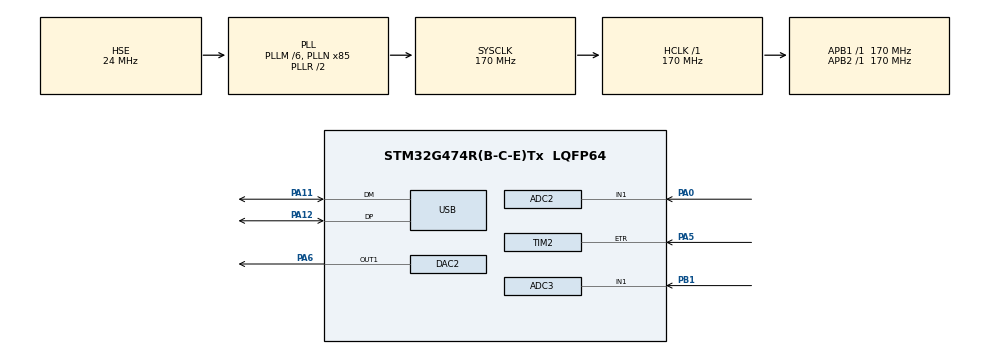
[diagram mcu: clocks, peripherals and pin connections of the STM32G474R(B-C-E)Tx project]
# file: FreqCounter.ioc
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ADC2.Channel-1\#ChannelRegularConversion=ADC_CHANNEL_1
ADC2.ContinuousConvMode=ENABLE
ADC2.DMAContinuousRequests=ENABLE
ADC2.EOCSelection=ADC_EOC_SEQ_CONV
ADC2.NbrOfConversion=1
ADC2.NbrOfConversionFlag=1
ADC2.OffsetNumber-1\#ChannelRegularConversion=ADC_OFFSET_NONE
ADC2.Rank-1\#ChannelRegularConversion=1
ADC2.SamplingTime-1\#ChannelRegularConversion=ADC_SAMPLETIME_2CYCLES_5
ADC3.Channel-2\#ChannelRegularConversion=ADC_CHANNEL_1
ADC3.ContinuousConvMode=ENABLE
ADC3.DMAContinuousRequests=ENABLE
ADC3.EOCSelection=ADC_EOC_SEQ_CONV
ADC3.NbrOfConversionFlag=1
ADC3.OffsetNumber-2\#ChannelRegularConversion=ADC_OFFSET_NONE
ADC3.Rank-2\#ChannelRegularConversion=1
ADC3.SamplingTime-2\#ChannelRegularConversion=ADC_SAMPLETIME_2CYCLES_5
ADC3.master=1
Dma.ADC2.0.Direction=DMA_PERIPH_TO_MEMORY
Dma.ADC2.0.EventEnable=DISABLE
Dma.ADC2.0.Instance=DMA1_Channel1
Dma.ADC2.0.MemDataAlignment=DMA_MDATAALIGN_WORD
Dma.ADC2.0.MemInc=DMA_MINC_ENABLE
Dma.ADC2.0.Mode=DMA_CIRCULAR
Dma.ADC2.0.PeriphDataAlignment=DMA_PDATAALIGN_WORD
Dma.ADC2.0.PeriphInc=DMA_PINC_DISABLE
Dma.ADC2.0.Polarity=HAL_DMAMUX_REQ_GEN_RISING
Dma.ADC2.0.Priority=DMA_PRIORITY_LOW
Dma.ADC2.0.RequestNumber=1
Dma.ADC2.0.SignalID=NONE
Dma.ADC2.0.SyncEnable=DISABLE
Dma.ADC2.0.SyncPolarity=HAL_DMAMUX_SYNC_NO_EVENT
Dma.ADC2.0.SyncRequestNumber=1
Dma.ADC2.0.SyncSignalID=NONE
Dma.ADC3.1.Direction=DMA_PERIPH_TO_MEMORY
Dma.ADC3.1.EventEnable=DISABLE
Dma.ADC3.1.Instance=DMA1_Channel2
Dma.ADC3.1.MemDataAlignment=DMA_MDATAALIGN_HALFWORD
Dma.ADC3.1.MemInc=DMA_MINC_ENABLE
Dma.ADC3.1.Mode=DMA_CIRCULAR
Dma.ADC3.1.PeriphDataAlignment=DMA_PDATAALIGN_HALFWORD
Dma.ADC3.1.PeriphInc=DMA_PINC_DISABLE
Dma.ADC3.1.Polarity=HAL_DMAMUX_REQ_GEN_RISING
Dma.ADC3.1.Priority=DMA_PRIORITY_LOW
Dma.ADC3.1.RequestNumber=1
Dma.ADC3.1.SignalID=NONE
Dma.ADC3.1.SyncEnable=DISABLE
Dma.ADC3.1.SyncPolarity=HAL_DMAMUX_SYNC_NO_EVENT
Dma.ADC3.1.SyncRequestNumber=1
Dma.ADC3.1.SyncSignalID=NONE
Dma.Request0=ADC2
Dma.Request1=ADC3
Mcu.Family=STM32G4
Mcu.Name=STM32G474R(B-C-E)Tx
Mcu.Package=LQFP64
NVIC.DMA1_Channel1_IRQn=true\:0\:0\:false\:false\:true\:false\:true\:true
NVIC.DMA1_Channel2_IRQn=true\:0\:0\:false\:false\:true\:false\:true\:true
NVIC.PriorityGroup=NVIC_PRIORITYGROUP_4
NVIC.TIM5_IRQn=true\:0\:0\:false\:false\:true\:true\:true\:true
NVIC.USB_LP_IRQn=true\:0\:0\:false\:false\:true\:false\:true\:true
PA0.Mode=IN1-Single-Ended
PA0.Signal=ADC2_IN1
PA11.Mode=Device
PA11.Signal=USB_DM
PA12.Mode=Device
PA12.Signal=USB_DP
PA5.Signal=S_TIM2_ETR
PA6.Signal=COMP_DAC21_group
PB1.Mode=IN1-Single-Ended
PB1.Signal=ADC3_IN1
PF0-OSC_IN.Mode=HSE-External-Oscillator
PF0-OSC_IN.Signal=RCC_OSC_IN
PF1-OSC_OUT.Mode=HSE-External-Oscillator
PF1-OSC_OUT.Signal=RCC_OSC_OUT
ProjectManager.HeapSize=0x200
ProjectManager.StackSize=0x400
ProjectManager.TargetToolchain=STM32CubeIDE
RCC.ADC12Freq_Value=170000000
RCC.ADC345Freq_Value=170000000
RCC.AHBFreq_Value=170000000
RCC.APB1Freq_Value=170000000
RCC.APB1TimFreq_Value=170000000
RCC.APB2Freq_Value=170000000
RCC.APB2TimFreq_Value=170000000
RCC.CK48CLockSelection=RCC_USBCLKSOURCE_HSI48
RCC.CortexFreq_Value=170000000
RCC.EXTERNAL_CLOCK_VALUE=12288000
RCC.HCLKFreq_Value=170000000
RCC.HSE_VALUE=24000000
RCC.HSI48_VALUE=48000000
RCC.HSI_VALUE=16000000
RCC.LSE_VALUE=32768
RCC.PLLM=RCC_PLLM_DIV6
RCC.PLLN=85
RCC.PLLSourceVirtual=RCC_PLLSOURCE_HSE
RCC.SYSCLKFreq_VALUE=170000000
RCC.SYSCLKSource=RCC_SYSCLKSOURCE_PLLCLK
RCC.USBFreq_Value=48000000
RCC.VCOOutputFreq_Value=340000000
SH.COMP_DAC21_group.0=DAC2_OUT1,DAC_OUT1
SH.S_TIM2_ETR.0=TIM2_ETR,ClockSourceETR_Mode2
TIM5.PeriodNoDither=170000000
USB_DEVICE.CLASS_NAME_FS=CDC
USB_DEVICE.VirtualMode=Cdc
USB_DEVICE.VirtualModeFS=Cdc_FS
VP_TIM5_VS_ClockSourceINT.Mode=Internal
VP_USB_DEVICE_VS_USB_DEVICE_CDC_FS.Mode=CDC_FS
board=custom

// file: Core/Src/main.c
/* USER CODE BEGIN Header */
/**
  ******************************************************************************
  * @file           : main.c
  * @brief          : Main program body
  ******************************************************************************
  * @attention
  *
  * Copyright (c) 2023 STMicroelectronics.
  * All rights reserved.
  *
  * This software is licensed under terms that can be found in the LICENSE file
  * in the root directory of this software component.
  * If no LICENSE file comes with this software, it is provided AS-IS.
  *
  ******************************************************************************
  */
/* USER CODE END Header */
#include "main.h"
#include "usb_device.h"

/* USER CODE BEGIN Includes */
#include "usbd_cdc_if.h"

#include "stm32g4xx_hal.h"
#include <string.h>
#include <stdio.h>
/* USER CODE END Includes */

/* USER CODE BEGIN PD */

#define ADC_BUFF 5000
//#define AVG_ARRAY_SIZE 100

/* USER CODE END PD */

ADC_HandleTypeDef hadc2;
ADC_HandleTypeDef hadc3;
DMA_HandleTypeDef hdma_adc2;
DMA_HandleTypeDef hdma_adc3;

DAC_HandleTypeDef hdac2;

TIM_HandleTypeDef htim2;
TIM_HandleTypeDef htim5;

/* USER CODE BEGIN PV */
volatile uint32_t squareWaveFrequency = 0;
__IO uint32_t ADCVal[ADC_BUFF];
__IO uint16_t ADC3Val[ADC_BUFF];
//float allAvg[AVG_ARRAY_SIZE];
float ADCAvg;
float ADC3Avg;

float ADCtot;
float ADC3tot;
int numVal, numVal3;

float voltageValue;
__IO uint8_t ADCDone;
__IO uint8_t ADC3Done;
__IO uint8_t TIM5Done;
int16_t DAC_Value;
//uint32_t avg_index;
uint8_t init_values[8]= {0};
uint32_t error;

/* USER CODE END PV */

void SystemClock_Config(void);
static void MX_GPIO_Init(void);
static void MX_DMA_Init(void);
static void MX_TIM2_Init(void);
static void MX_TIM5_Init(void);
static void MX_ADC2_Init(void);
static void MX_DAC2_Init(void);
static void MX_ADC3_Init(void);
/* USER CODE BEGIN PFP */
void HAL_TIM_PeriodElapsedCallback(TIM_HandleTypeDef *htim);
static float ADC_avg(uint32_t *values);
static float ADC3_avg(uint16_t *values);
//static float Avg_avg(uint32_t *values);
//void HAL_TIM_IC_CaptureCallback(TIM_HandleTypeDef *htim);
/* USER CODE END PFP */

int main(void)
{

  /* MCU Configuration--------------------------------------------------------*/

  /* Reset of all peripherals, Initializes the Flash interface and the Systick. */
  HAL_Init();

  /* Configure the system clock */
  SystemClock_Config();

  /* Initialize all configured peripherals */
  MX_GPIO_Init();
  MX_DMA_Init();
  MX_TIM2_Init();
  MX_TIM5_Init();
  MX_ADC2_Init();
  MX_USB_Device_Init();
  MX_DAC2_Init();
  MX_ADC3_Init();
  /* USER CODE BEGIN 2 */

  HAL_TIM_Base_Start_IT(&htim5);
  HAL_TIM_Base_Start(&htim2);
  ADCDone = 0;
  ADC3Done = 0;
  TIM5Done = 0;
  ADCAvg = 0;
  ADC3Avg = 0;

  ADCtot = 0;
  ADC3tot = 0;
  numVal = 0;
  numVal3 = 0;

  voltageValue = 0;
  error=0;

  HAL_DAC_Start(&hdac2, DAC_CHANNEL_1);
  HAL_ADC_Start_DMA(&hadc2, (uint32_t*)ADCVal, ADC_BUFF);
  HAL_ADC_Start_DMA(&hadc3, (uint16_t*)ADC3Val, ADC_BUFF);
  /* USER CODE END 2 */

  /* Infinite loop */
  while (1)
  {

    /* USER CODE BEGIN 3 */

	  // Callibrate and Send
	if (receivedValue==4100){
		DAC_Value = (2/3.3)*4095;
		HAL_DAC_SetValue(&hdac2, DAC_CHANNEL_1, DAC_ALIGN_12B_R, (uint32_t)DAC_Value);
		do{
			receivedValue = 0;
			  // process ADC data
			if (ADCDone){
				ADCDone = 0;
				ADCAvg = ADC_avg(ADCVal);
				DAC_Value += (2048-ADCAvg)/10;
				//DAC_Value += (2048-DAC_Value)/10;
				HAL_DAC_SetValue(&hdac2, DAC_CHANNEL_1, DAC_ALIGN_12B_R, (uint32_t)DAC_Value);
				HAL_ADC_Start_DMA(&hadc2, (uint32_t*)ADCVal, ADC_BUFF);
			}
		} while(ADCAvg<2040 || ADCAvg>2056);

		for (uint i = 0; i<2; i++){
			init_values[i] = (uint8_t)((DAC_Value >> (8*i)) & 0xFF);
		}
		uint8_t *bytes = (uint8_t *)&ADCAvg;
		for (uint i = 0; i < 4; i++) {
				init_values[i+4] = bytes[i];
		}
		if (ADCAvg>2040 && ADCAvg<2056){
			CDC_Transmit_FS(init_values, 8);
			for (uint i = 0; i<8;i++ ){
				init_values[i] = 0;
			}
		}
	}

	// Check and Send
	if (receivedValue>4100){
		DAC_Value = receivedValue - 4200;
		HAL_DAC_SetValue(&hdac2, DAC_CHANNEL_1, DAC_ALIGN_12B_R, (uint32_t)DAC_Value);
		if(ADCDone) {
		  ADCDone = 0;
		  receivedValue = 0;
		  // process ADC data
		  HAL_ADC_Start_DMA(&hadc2, (uint32_t*)ADCVal, ADC_BUFF);
	  }
		uint8_t *bytes2 = (uint8_t *)&DAC_Value;
		for (uint i = 0; i<2; i++){
			init_values[i] = bytes2[i];
		}
		uint8_t *bytes = (uint8_t *)&ADCAvg;
		for (uint i = 0; i < 4; i++) {
			init_values[i+4] = bytes[i];
		}
		CDC_Transmit_FS(init_values, 8);
	}

    //Set value
	if (receivedValue < 4096 && receivedValue>0){
		  DAC_Value = (int16_t) receivedValue;
		  HAL_DAC_SetValue(&hdac2, DAC_CHANNEL_1, DAC_ALIGN_12B_R, (uint32_t)DAC_Value);
		  receivedValue = 0;
	  }

	if (ADCDone){
		ADCDone = 0;
		ADCAvg = ADC_avg(ADCVal);
		ADCtot += ADCAvg;
		numVal++;
	}
	if (ADC3Done){
		ADC3Done = 0;
		ADC3Avg = ADC3_avg(ADC3Val);
		ADC3tot += ADC3Avg;
		numVal3++;
	}

	  if (TIM5Done){
		HAL_ADC_Stop_DMA(&hadc2);
		HAL_ADC_Stop_DMA(&hadc3);

		TIM5Done = 0;
		uint8_t data[12];
		for (uint i = 0; i<4; i++){
			data[i] = (uint8_t)((squareWaveFrequency >> (8*i)) & 0xFF);
		}
		if ((numVal!=0) && (numVal3!=0)){
			ADCAvg = ADCtot/numVal;
			ADC3Avg = ADC3tot/numVal3;

			ADCtot = 0;
			ADC3tot = 0;
			numVal = 0;
			numVal3 = 0;
		}
		uint8_t *bytes = (uint8_t *)&ADCAvg;
		for (uint i = 0; i < 4; i++) {
				data[i+4] = bytes[i];
		}
		uint8_t *bytes3 = (uint8_t *)&ADC3Avg;
		for (uint i = 0; i < 4; i++) {
				data[i+8] = bytes3[i];
		}
		CDC_Transmit_FS(data, 12);
		HAL_ADC_Start_DMA(&hadc2, (uint32_t*)ADCVal, ADC_BUFF);
		HAL_ADC_Start_DMA(&hadc3, (uint16_t*)ADC3Val, ADC_BUFF);
	  }

  }
  /* USER CODE END 3 */
}

void SystemClock_Config(void)
{
  RCC_OscInitTypeDef RCC_OscInitStruct = {0};
  RCC_ClkInitTypeDef RCC_ClkInitStruct = {0};

  /** Configure the main internal regulator output voltage
  */
  HAL_PWREx_ControlVoltageScaling(PWR_REGULATOR_VOLTAGE_SCALE1_BOOST);

  /** Initializes the RCC Oscillators according to the specified parameters
  * in the RCC_OscInitTypeDef structure.
  */
  RCC_OscInitStruct.OscillatorType = RCC_OSCILLATORTYPE_HSI48|RCC_OSCILLATORTYPE_HSE;
  RCC_OscInitStruct.HSEState = RCC_HSE_ON;
  RCC_OscInitStruct.HSI48State = RCC_HSI48_ON;
  RCC_OscInitStruct.PLL.PLLState = RCC_PLL_ON;
  RCC_OscInitStruct.PLL.PLLSource = RCC_PLLSOURCE_HSE;
  RCC_OscInitStruct.PLL.PLLM = RCC_PLLM_DIV6;
  RCC_OscInitStruct.PLL.PLLN = 85;
  RCC_OscInitStruct.PLL.PLLP = RCC_PLLP_DIV2;
  RCC_OscInitStruct.PLL.PLLQ = RCC_PLLQ_DIV2;
  RCC_OscInitStruct.PLL.PLLR = RCC_PLLR_DIV2;
  if (HAL_RCC_OscConfig(&RCC_OscInitStruct) != HAL_OK)
  {
    Error_Handler();
  }

  /** Initializes the CPU, AHB and APB buses clocks
  */
  RCC_ClkInitStruct.ClockType = RCC_CLOCKTYPE_HCLK|RCC_CLOCKTYPE_SYSCLK
                              |RCC_CLOCKTYPE_PCLK1|RCC_CLOCKTYPE_PCLK2;
  RCC_ClkInitStruct.SYSCLKSource = RCC_SYSCLKSOURCE_PLLCLK;
  RCC_ClkInitStruct.AHBCLKDivider = RCC_SYSCLK_DIV1;
  RCC_ClkInitStruct.APB1CLKDivider = RCC_HCLK_DIV1;
  RCC_ClkInitStruct.APB2CLKDivider = RCC_HCLK_DIV1;

  if (HAL_RCC_ClockConfig(&RCC_ClkInitStruct, FLASH_LATENCY_4) != HAL_OK)
  {
    Error_Handler();
  }
}

static void MX_ADC2_Init(void)
{

  ADC_ChannelConfTypeDef sConfig = {0};

  /** Common config
  */
  hadc2.Instance = ADC2;
  hadc2.Init.ClockPrescaler = ADC_CLOCK_SYNC_PCLK_DIV4;
  hadc2.Init.Resolution = ADC_RESOLUTION_12B;
  hadc2.Init.DataAlign = ADC_DATAALIGN_RIGHT;
  hadc2.Init.GainCompensation = 0;
  hadc2.Init.ScanConvMode = ADC_SCAN_DISABLE;
  hadc2.Init.EOCSelection = ADC_EOC_SEQ_CONV;
  hadc2.Init.LowPowerAutoWait = DISABLE;
  hadc2.Init.ContinuousConvMode = ENABLE;
  hadc2.Init.NbrOfConversion = 1;
  hadc2.Init.DiscontinuousConvMode = DISABLE;
  hadc2.Init.ExternalTrigConv = ADC_SOFTWARE_START;
  hadc2.Init.ExternalTrigConvEdge = ADC_EXTERNALTRIGCONVEDGE_NONE;
  hadc2.Init.DMAContinuousRequests = ENABLE;
  hadc2.Init.Overrun = ADC_OVR_DATA_PRESERVED;
  hadc2.Init.OversamplingMode = DISABLE;
  if (HAL_ADC_Init(&hadc2) != HAL_OK)
  {
    Error_Handler();
  }

  /** Configure Regular Channel
  */
  sConfig.Channel = ADC_CHANNEL_1;
  sConfig.Rank = ADC_REGULAR_RANK_1;
  sConfig.SamplingTime = ADC_SAMPLETIME_2CYCLES_5;
  sConfig.SingleDiff = ADC_SINGLE_ENDED;
  sConfig.OffsetNumber = ADC_OFFSET_NONE;
  sConfig.Offset = 0;
  if (HAL_ADC_ConfigChannel(&hadc2, &sConfig) != HAL_OK)
  {
    Error_Handler();
  }

}

static void MX_ADC3_Init(void)
{

  ADC_MultiModeTypeDef multimode = {0};
  ADC_ChannelConfTypeDef sConfig = {0};

  /** Common config
  */
  hadc3.Instance = ADC3;
  hadc3.Init.ClockPrescaler = ADC_CLOCK_SYNC_PCLK_DIV4;
  hadc3.Init.Resolution = ADC_RESOLUTION_12B;
  hadc3.Init.DataAlign = ADC_DATAALIGN_RIGHT;
  hadc3.Init.GainCompensation = 0;
  hadc3.Init.ScanConvMode = ADC_SCAN_DISABLE;
  hadc3.Init.EOCSelection = ADC_EOC_SEQ_CONV;
  hadc3.Init.LowPowerAutoWait = DISABLE;
  hadc3.Init.ContinuousConvMode = ENABLE;
  hadc3.Init.NbrOfConversion = 1;
  hadc3.Init.DiscontinuousConvMode = DISABLE;
  hadc3.Init.ExternalTrigConv = ADC_SOFTWARE_START;
  hadc3.Init.ExternalTrigConvEdge = ADC_EXTERNALTRIGCONVEDGE_NONE;
  hadc3.Init.DMAContinuousRequests = ENABLE;
  hadc3.Init.Overrun = ADC_OVR_DATA_PRESERVED;
  hadc3.Init.OversamplingMode = DISABLE;
  if (HAL_ADC_Init(&hadc3) != HAL_OK)
  {
    Error_Handler();
  }

  /** Configure the ADC multi-mode
  */
  multimode.Mode = ADC_MODE_INDEPENDENT;
  if (HAL_ADCEx_MultiModeConfigChannel(&hadc3, &multimode) != HAL_OK)
  {
    Error_Handler();
  }

  /** Configure Regular Channel
  */
  sConfig.Channel = ADC_CHANNEL_1;
  sConfig.Rank = ADC_REGULAR_RANK_1;
  sConfig.SamplingTime = ADC_SAMPLETIME_2CYCLES_5;
  sConfig.SingleDiff = ADC_SINGLE_ENDED;
  sConfig.OffsetNumber = ADC_OFFSET_NONE;
  sConfig.Offset = 0;
  if (HAL_ADC_ConfigChannel(&hadc3, &sConfig) != HAL_OK)
  {
    Error_Handler();
  }

}

static void MX_DAC2_Init(void)
{

  DAC_ChannelConfTypeDef sConfig = {0};

  /** DAC Initialization
  */
  hdac2.Instance = DAC2;
  if (HAL_DAC_Init(&hdac2) != HAL_OK)
  {
    Error_Handler();
  }

  /** DAC channel OUT1 config
  */
  sConfig.DAC_HighFrequency = DAC_HIGH_FREQUENCY_INTERFACE_MODE_AUTOMATIC;
  sConfig.DAC_DMADoubleDataMode = DISABLE;
  sConfig.DAC_SignedFormat = DISABLE;
  sConfig.DAC_SampleAndHold = DAC_SAMPLEANDHOLD_DISABLE;
  sConfig.DAC_Trigger = DAC_TRIGGER_NONE;
  sConfig.DAC_Trigger2 = DAC_TRIGGER_NONE;
  sConfig.DAC_OutputBuffer = DAC_OUTPUTBUFFER_ENABLE;
  sConfig.DAC_ConnectOnChipPeripheral = DAC_CHIPCONNECT_EXTERNAL;
  sConfig.DAC_UserTrimming = DAC_TRIMMING_FACTORY;
  if (HAL_DAC_ConfigChannel(&hdac2, &sConfig, DAC_CHANNEL_1) != HAL_OK)
  {
    Error_Handler();
  }

}

static void MX_TIM2_Init(void)
{

  TIM_ClockConfigTypeDef sClockSourceConfig = {0};
  TIM_MasterConfigTypeDef sMasterConfig = {0};

  htim2.Instance = TIM2;
  htim2.Init.Prescaler = 0;
  htim2.Init.CounterMode = TIM_COUNTERMODE_UP;
  htim2.Init.Period = 4.294967295E9;
  htim2.Init.ClockDivision = TIM_CLOCKDIVISION_DIV1;
  htim2.Init.AutoReloadPreload = TIM_AUTORELOAD_PRELOAD_DISABLE;
  if (HAL_TIM_Base_Init(&htim2) != HAL_OK)
  {
    Error_Handler();
  }
  sClockSourceConfig.ClockSource = TIM_CLOCKSOURCE_ETRMODE2;
  sClockSourceConfig.ClockPolarity = TIM_CLOCKPOLARITY_NONINVERTED;
  sClockSourceConfig.ClockPrescaler = TIM_CLOCKPRESCALER_DIV1;
  sClockSourceConfig.ClockFilter = 0;
  if (HAL_TIM_ConfigClockSource(&htim2, &sClockSourceConfig) != HAL_OK)
  {
    Error_Handler();
  }
  sMasterConfig.MasterOutputTrigger = TIM_TRGO_RESET;
  sMasterConfig.MasterSlaveMode = TIM_MASTERSLAVEMODE_DISABLE;
  if (HAL_TIMEx_MasterConfigSynchronization(&htim2, &sMasterConfig) != HAL_OK)
  {
    Error_Handler();
  }

}

static void MX_TIM5_Init(void)
{

  TIM_ClockConfigTypeDef sClockSourceConfig = {0};
  TIM_MasterConfigTypeDef sMasterConfig = {0};

  htim5.Instance = TIM5;
  htim5.Init.Prescaler = 0;
  htim5.Init.CounterMode = TIM_COUNTERMODE_UP;
  htim5.Init.Period = 1.7E8;
  htim5.Init.ClockDivision = TIM_CLOCKDIVISION_DIV1;
  htim5.Init.AutoReloadPreload = TIM_AUTORELOAD_PRELOAD_DISABLE;
  if (HAL_TIM_Base_Init(&htim5) != HAL_OK)
  {
    Error_Handler();
  }
  sClockSourceConfig.ClockSource = TIM_CLOCKSOURCE_INTERNAL;
  if (HAL_TIM_ConfigClockSource(&htim5, &sClockSourceConfig) != HAL_OK)
  {
    Error_Handler();
  }
  sMasterConfig.MasterOutputTrigger = TIM_TRGO_RESET;
  sMasterConfig.MasterSlaveMode = TIM_MASTERSLAVEMODE_DISABLE;
  if (HAL_TIMEx_MasterConfigSynchronization(&htim5, &sMasterConfig) != HAL_OK)
  {
    Error_Handler();
  }

}

static void MX_DMA_Init(void)
{

  /* DMA controller clock enable */
  __HAL_RCC_DMAMUX1_CLK_ENABLE();
  __HAL_RCC_DMA1_CLK_ENABLE();

  /* DMA interrupt init */
  /* DMA1_Channel1_IRQn interrupt configuration */
  HAL_NVIC_SetPriority(DMA1_Channel1_IRQn, 0, 0);
  HAL_NVIC_EnableIRQ(DMA1_Channel1_IRQn);
  /* DMA1_Channel2_IRQn interrupt configuration */
  HAL_NVIC_SetPriority(DMA1_Channel2_IRQn, 0, 0);
  HAL_NVIC_EnableIRQ(DMA1_Channel2_IRQn);

}

static void MX_GPIO_Init(void)
{

  /* GPIO Ports Clock Enable */
  __HAL_RCC_GPIOF_CLK_ENABLE();
  __HAL_RCC_GPIOA_CLK_ENABLE();
  __HAL_RCC_GPIOB_CLK_ENABLE();

}

/* USER CODE BEGIN 4 */

void HAL_ADC_ConvCpltCallback(ADC_HandleTypeDef * AdcHandle) {
	if (AdcHandle->Instance == ADC2){
		ADCDone = 1;
		HAL_ADC_Stop_DMA(&hadc2);
	} if (AdcHandle->Instance == ADC3){
		ADC3Done = 1;
		HAL_ADC_Stop_DMA(&hadc3);
	}
}

static float ADC_avg(uint32_t *values){
	uint32_t average = 0;
	for (uint i=0; i<ADC_BUFF;i++){
		average+=values[i];
	}
	HAL_ADC_Start_DMA(&hadc2, (uint32_t*)ADCVal, ADC_BUFF);
	return(average*1.0/ADC_BUFF);
}

static float ADC3_avg(uint16_t *values){
	uint32_t average = 0;
	for (uint i=0; i<ADC_BUFF;i++){
		average+=values[i];
	}
	HAL_ADC_Start_DMA(&hadc3, (uint16_t*)ADC3Val, ADC_BUFF);
	return(average*1.0/ADC_BUFF);
}

void HAL_TIM_PeriodElapsedCallback(TIM_HandleTypeDef *htim) {
    if (htim->Instance == TIM5) {
    		TIM5Done = 1;
    		squareWaveFrequency=__HAL_TIM_GET_COUNTER(&htim2)*(0.999962251);
    		__HAL_TIM_SET_COUNTER(&htim2, 0);
    		__HAL_TIM_SET_COUNTER(&htim5, 0);
    	}
    }
/* USER CODE END 4 */

void Error_Handler(void)
{
  __disable_irq();
  while (1)
  {
  }
}
